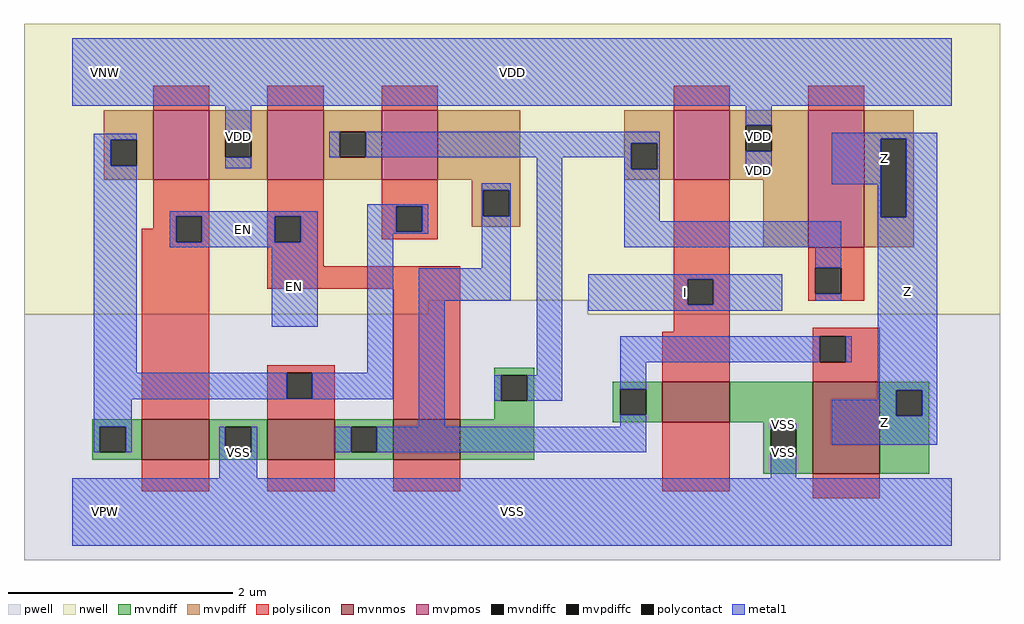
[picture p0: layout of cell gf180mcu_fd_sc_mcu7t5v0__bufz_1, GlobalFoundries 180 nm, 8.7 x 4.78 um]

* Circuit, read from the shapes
.subckt gf180mcu_fd_sc_mcu7t5v0__bufz_1 EN I Z VDD VNW VPW VSS
XM1 VSS EN n1 VPW nfet_06v0 w=0.36u l=0.6u
XM2 n2 n1 VSS VPW nfet_06v0 w=0.36u l=0.6u
XM3 n3 EN n2 VPW nfet_06v0 w=0.36u l=0.6u
XM4 VSS I n2 VPW nfet_06v0 w=0.36u l=0.6u
XM5 Z n2 VSS VPW nfet_06v0 w=0.82u l=0.6u
XM6 VDD EN n1 VNW pfet_06v0 w=0.62u l=0.5u
XM7 n3 EN VDD VNW pfet_06v0 w=0.62u l=0.5u
XM8 n2 n1 n3 VNW pfet_06v0 w=0.62u l=0.5u
XM9 VDD I n3 VNW pfet_06v0 w=0.62u l=0.5u
XM10 Z n3 VDD VNW pfet_06v0 w=1.22u l=0.5u
.ends

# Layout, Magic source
magic
tech gf180mcuD
magscale 1 10
<< nwell >>
rect -86 377 1654 870
rect -86 352 635 377
rect 919 352 1654 377
<< pwell >>
rect 635 352 919 377
rect -86 -86 1654 352
<< mvnmos >>
rect 124 93 244 165
rect 348 93 468 165
rect 572 93 692 165
rect 1052 160 1172 232
rect 1320 68 1440 232
<< mvpmos >>
rect 144 592 244 716
rect 348 592 448 716
rect 552 592 652 716
rect 1072 592 1172 716
rect 1312 472 1412 716
<< mvndiff >>
rect 752 244 824 257
rect 752 198 765 244
rect 811 198 824 244
rect 752 165 824 198
rect 36 152 124 165
rect 36 106 49 152
rect 95 106 124 152
rect 36 93 124 106
rect 244 152 348 165
rect 244 106 273 152
rect 319 106 348 152
rect 244 93 348 106
rect 468 152 572 165
rect 468 106 497 152
rect 543 106 572 152
rect 468 93 572 106
rect 692 93 824 165
rect 964 219 1052 232
rect 964 173 977 219
rect 1023 173 1052 219
rect 964 160 1052 173
rect 1172 160 1320 232
rect 1232 147 1320 160
rect 1232 101 1245 147
rect 1291 101 1320 147
rect 1232 68 1320 101
rect 1440 217 1528 232
rect 1440 171 1469 217
rect 1515 171 1528 217
rect 1440 68 1528 171
<< mvpdiff >>
rect 56 663 144 716
rect 56 617 69 663
rect 115 617 144 663
rect 56 592 144 617
rect 244 678 348 716
rect 244 632 273 678
rect 319 632 348 678
rect 244 592 348 632
rect 448 678 552 716
rect 448 632 477 678
rect 523 632 552 678
rect 448 592 552 632
rect 652 592 799 716
rect 984 657 1072 716
rect 984 611 997 657
rect 1043 611 1072 657
rect 984 592 1072 611
rect 1172 689 1312 716
rect 1172 643 1201 689
rect 1247 643 1312 689
rect 1172 592 1312 643
rect 712 573 799 592
rect 712 527 733 573
rect 779 527 799 573
rect 712 508 799 527
rect 1232 472 1312 592
rect 1412 665 1500 716
rect 1412 525 1441 665
rect 1487 525 1500 665
rect 1412 472 1500 525
<< mvndiffc >>
rect 765 198 811 244
rect 49 106 95 152
rect 273 106 319 152
rect 497 106 543 152
rect 977 173 1023 219
rect 1245 101 1291 147
rect 1469 171 1515 217
<< mvpdiffc >>
rect 69 617 115 663
rect 273 632 319 678
rect 477 632 523 678
rect 997 611 1043 657
rect 1201 643 1247 689
rect 733 527 779 573
rect 1441 525 1487 665
<< polysilicon >>
rect 144 716 244 760
rect 348 716 448 760
rect 552 716 652 760
rect 1072 716 1172 760
rect 1312 716 1412 760
rect 144 527 244 592
rect 144 505 185 527
rect 124 481 185 505
rect 231 481 244 527
rect 124 165 244 481
rect 348 527 448 592
rect 348 481 361 527
rect 407 481 448 527
rect 552 545 652 592
rect 552 499 578 545
rect 624 499 652 545
rect 552 486 652 499
rect 348 438 448 481
rect 348 398 692 438
rect 348 248 468 261
rect 348 202 382 248
rect 428 202 468 248
rect 348 165 468 202
rect 572 165 692 398
rect 1072 415 1172 592
rect 1072 369 1097 415
rect 1143 369 1172 415
rect 1312 435 1412 472
rect 1312 389 1325 435
rect 1371 389 1412 435
rect 1312 376 1412 389
rect 1072 321 1172 369
rect 1052 232 1172 321
rect 1320 313 1440 328
rect 1320 267 1333 313
rect 1379 267 1440 313
rect 1320 232 1440 267
rect 124 37 244 93
rect 348 37 468 93
rect 572 37 692 93
rect 1052 37 1172 160
rect 1320 24 1440 68
<< polycontact >>
rect 185 481 231 527
rect 361 481 407 527
rect 578 499 624 545
rect 382 202 428 248
rect 1097 369 1143 415
rect 1325 389 1371 435
rect 1333 267 1379 313
<< metal1 >>
rect 0 724 1568 844
rect 273 678 319 724
rect 1201 689 1247 724
rect 38 663 115 674
rect 38 617 69 663
rect 38 248 115 617
rect 458 632 477 678
rect 523 657 1047 678
rect 523 632 997 657
rect 273 613 319 632
rect 730 573 782 586
rect 526 545 635 548
rect 174 527 438 536
rect 174 481 185 527
rect 231 481 361 527
rect 407 481 438 527
rect 174 472 438 481
rect 356 330 438 472
rect 526 499 578 545
rect 624 499 635 545
rect 526 496 635 499
rect 730 527 733 573
rect 779 527 782 573
rect 526 248 572 496
rect 730 434 782 527
rect 38 202 382 248
rect 428 202 572 248
rect 38 201 572 202
rect 618 376 782 434
rect 38 152 106 201
rect 618 152 664 376
rect 828 244 874 632
rect 984 611 997 632
rect 1043 611 1047 657
rect 984 518 1047 611
rect 1201 603 1247 643
rect 1354 665 1542 676
rect 1354 584 1441 665
rect 1436 525 1441 584
rect 1487 525 1542 665
rect 984 472 1371 518
rect 1325 435 1371 472
rect 920 415 1266 424
rect 920 369 1097 415
rect 1143 369 1266 415
rect 1325 376 1371 389
rect 920 359 1266 369
rect 752 198 765 244
rect 811 198 874 244
rect 977 267 1333 313
rect 1379 267 1390 313
rect 977 219 1023 267
rect 1436 217 1542 525
rect 1436 200 1469 217
rect 977 152 1023 173
rect 1354 171 1469 200
rect 1515 171 1542 217
rect 38 106 49 152
rect 95 106 106 152
rect 262 106 273 152
rect 319 106 330 152
rect 468 106 497 152
rect 543 106 1023 152
rect 1245 147 1291 158
rect 262 60 330 106
rect 1354 120 1542 171
rect 1245 60 1291 101
rect 0 -60 1568 60
<< labels >>
flabel metal1 s 174 472 438 536 0 FreeSans 400 0 0 0 EN
port 1 nsew default input
flabel metal1 s 0 724 1568 844 0 FreeSans 400 0 0 0 VDD
port 4 nsew power bidirectional abutment
flabel metal1 s 1245 152 1291 158 0 FreeSans 400 0 0 0 VSS
port 7 nsew ground bidirectional abutment
flabel metal1 s 1354 584 1542 676 0 FreeSans 400 0 0 0 Z
port 3 nsew default output
flabel metal1 s 920 359 1266 424 0 FreeSans 400 0 0 0 I
port 2 nsew default input
flabel nwell s 10 734 110 834 0 FreeSans 400 0 0 0 VNW
port 5 nsew power bidirectional
flabel pwell s 10 -50 110 50 0 FreeSans 400 0 0 0 VPW
port 6 nsew ground bidirectional
rlabel metal1 s 356 330 438 472 1 EN
port 1 nsew default input
rlabel metal1 s 1436 200 1542 584 1 Z
port 3 nsew default output
rlabel metal1 s 1354 120 1542 200 1 Z
port 3 nsew default output
rlabel metal1 s 1201 613 1247 724 1 VDD
port 4 nsew power bidirectional abutment
rlabel metal1 s 273 613 319 724 1 VDD
port 4 nsew power bidirectional abutment
rlabel metal1 s 1201 603 1247 613 1 VDD
port 4 nsew power bidirectional abutment
rlabel metal1 s 1245 60 1291 152 1 VSS
port 7 nsew ground bidirectional abutment
rlabel metal1 s 262 60 330 152 1 VSS
port 7 nsew ground bidirectional abutment
rlabel metal1 s 0 -60 1568 60 1 VSS
port 7 nsew ground bidirectional abutment
<< properties >>
string FIXED_BBOX 0 0 1568 784
string GDS_END 1392082
string GDS_FILE $PDKPATH/libs.ref/gf180mcu_fd_sc_mcu7t5v0/gds/gf180mcu_fd_sc_mcu7t5v0.gds
string GDS_START 1387552
string LEFclass core
string LEFsite GF018hv5v_mcu_sc7
string LEFsymmetry X Y
<< end >>
